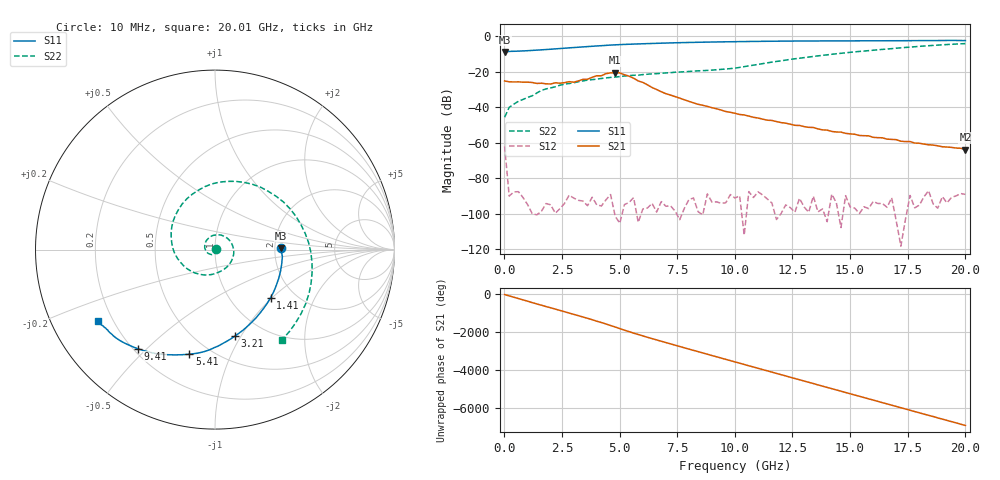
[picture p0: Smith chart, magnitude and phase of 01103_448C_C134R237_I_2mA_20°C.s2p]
!;Filter: kein Filter
!auto
!3/21/2019 9:26:52 AM
!3/21/2019 9:27:07 AM
!SP-Measurements Prober G4
!SP-Measurements Prober G4
!134
!237
!12
!20
!-20
!0.00199954
!1.75
!0.22129449
!0.22129449
# Hz S  RI  R 50
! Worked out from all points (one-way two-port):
!   101 points, 10 MHz to 20.01 GHz, reference 50 ohm
!   highest |S21| = -20.42 dB at 4.81 GHz (marker M1); lowest = -63.7 dB at 20.01 GHz (marker M2)
!   lowest |S11| = -8.7 dB at 10 MHz (marker M3), VSWR 2.16, Z = 108 + j2.14 ohm
!   |S11| at or under -10 dB: nowhere
!   |S22| runs from -45.6 to -4.1 dB; largest |S21 - S12| = 0.095
!   S11 on the Smith chart (normalised r, x): 10 MHz: 2.16, +0.04; 1.41 GHz: 1.52, -0.98; 3.21 GHz: 0.74, -0.94; 5.41 GHz: 0.39, -0.71; 9.41 GHz: 0.22, -0.47; 20.01 GHz: 0.14, -0.28
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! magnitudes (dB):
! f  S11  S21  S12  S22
! 10 MHz  -8.7  -25.1  -62.0  -45.6
! 210 MHz  -8.5  -25.6  -89.9  -40.0
! 610 MHz  -8.3  -25.6  -87.5  -36.6
! 1.41 GHz  -7.8  -26.5  -100.5  -31.9
! 1.81 GHz  -7.4  -26.7  -94.1  -29.6
! 3.01 GHz  -6.3  -25.8  -91.1  -26.1
! 3.21 GHz  -6.1  -25.1  -92.3  -25.6
! 3.41 GHz  -5.9  -24.2  -92.8  -25.1
! 3.61 GHz  -5.8  -24.2  -95.4  -24.7
! 4.41 GHz  -5.1  -21.0  -92.1  -23.4
! 4.81 GHz  -4.8  -20.4  -101.3  -22.9
! 5.01 GHz  -4.6  -20.6  -105.3  -22.6
! 5.41 GHz  -4.4  -22.4  -93.5  -22.1
! 6.81 GHz  -3.8  -31.2  -93.1  -20.8
! 8.41 GHz  -3.3  -38.3  -98.8  -19.4
! 9.41 GHz  -3.1  -41.5  -94.1  -18.6
! 10.01 GHz  -3.0  -43.3  -91.1  -17.9
! 12.61 GHz  -2.6  -50.1  -99.1  -12.6
! 13.41 GHz  -2.6  -51.3  -90.0  -11.3
! 14.21 GHz  -2.5  -53.5  -88.9  -10.1
! 16.81 GHz  -2.5  -58.0  -90.9  -6.9
! 20.01 GHz  -2.3  -63.7  -89.0  -4.1
